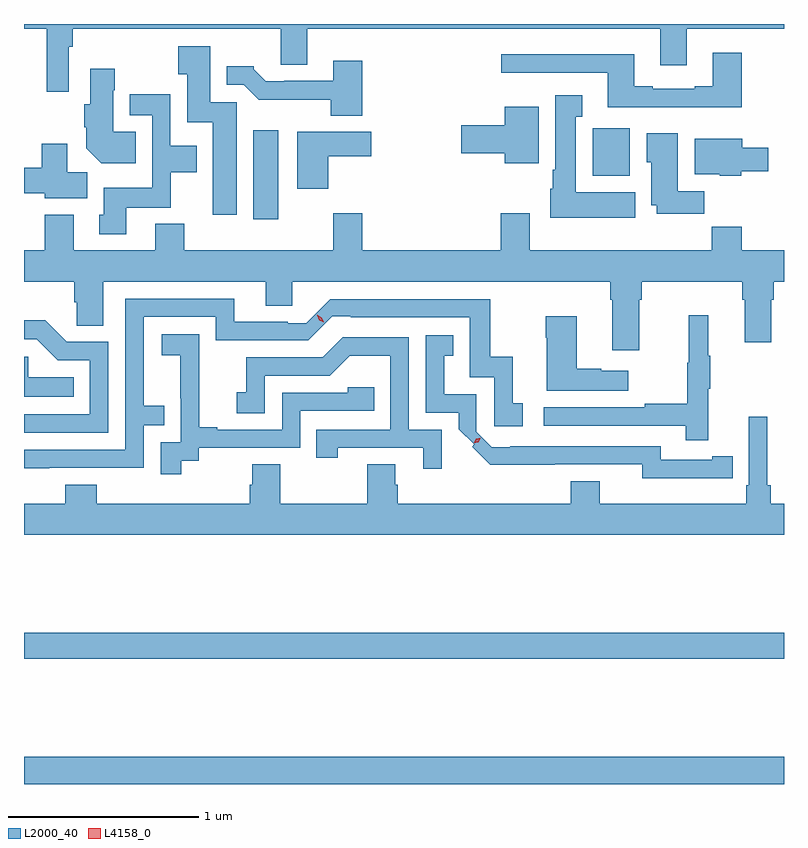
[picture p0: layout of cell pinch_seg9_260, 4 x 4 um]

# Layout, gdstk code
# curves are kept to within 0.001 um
import gdstk
lib = gdstk.Library(unit=1e-6, precision=1e-09)
def R(c, l, rs):  # rectangles x0, y0, x1, y1
    for r in rs: c.add(gdstk.rectangle(r[:2], r[2:], *l))
def P(c, l, *ps):  # polygons
    for p in ps: c.add(gdstk.Polygon(p, *l))
L2000_40 = (2000, 40)
L4158_0 = (4158, 0)

pinch_seg9_260 = lib.new_cell('pinch_seg9_260')
R(pinch_seg9_260, L2000_40, [(514.018,1224.412,518.018,1224.556), (514.018,1225.072,518.018,1225.208), (515.225,1227.384,515.356,1227.853), (517.011,1227.614,517.207,1227.864)])
P(pinch_seg9_260, L2000_40, [(514.254,1228.292),(514.274,1228.292),(514.274,1228.388),(515.369,1228.388),(515.369,1228.198),(515.509,1228.198),(515.509,1228.388),(517.367,1228.388),(517.367,1228.194),(517.507,1228.194),(517.507,1228.388),(518.018,1228.388),(518.018,1228.412),(514.018,1228.412),(514.018,1228.388),(514.138,1228.388),(514.138,1228.056),(514.254,1228.056)],
  [(515.137,1227.999),(514.999,1227.999),(514.999,1228.294),(514.831,1228.294),(514.831,1228.147),(514.877,1228.147),(514.877,1227.896),(515.012,1227.896),(515.012,1227.408),(515.137,1227.408)],
  [(517.796,1228.261),(517.643,1228.261),(517.643,1228.084),(517.547,1228.084),(517.547,1228.071),(517.327,1228.071),(517.327,1228.084),(517.231,1228.084),(517.231,1228.252),(516.531,1228.252),(516.531,1228.155),(517.091,1228.155),(517.091,1227.974),(517.796,1227.974)],
  [(515.798,1228.219),(515.645,1228.219),(515.645,1228.113),(515.389,1228.113),(515.389,1228.11),(515.29,1228.11),(515.226,1228.174),(515.226,1228.189),(515.084,1228.189),(515.084,1228.092),(515.175,1228.092),(515.254,1228.014),(515.633,1228.014),(515.633,1227.929),(515.798,1227.929)],
  [(514.607,1227.844),(514.489,1227.844),(514.489,1228.064),(514.496,1228.064),(514.496,1228.177),(514.367,1228.177),(514.367,1227.99),(514.334,1227.99),(514.334,1227.868),(514.346,1227.868),(514.346,1227.758),(514.424,1227.68),(514.607,1227.68)],
  [(514.555,1227.446),(514.791,1227.446),(514.791,1227.632),(514.927,1227.632),(514.927,1227.772),(514.788,1227.772),(514.788,1228.042),(514.575,1228.042),(514.575,1227.933),(514.692,1227.933),(514.692,1227.55),(514.439,1227.55),(514.439,1227.408),(514.415,1227.408),(514.415,1227.306),(514.555,1227.306)],
  [(517.234,1227.526),(516.922,1227.526),(516.922,1227.923),(516.955,1227.923),(516.955,1228.036),(516.815,1228.036),(516.815,1227.646),(516.8,1227.646),(516.8,1227.546),(516.788,1227.546),(516.788,1227.392),(517.234,1227.392)],
  [(516.727,1227.976),(516.548,1227.976),(516.548,1227.878),(516.318,1227.878),(516.318,1227.731),(516.548,1227.731),(516.548,1227.68),(516.727,1227.68)],
  [(515.62,1227.715),(515.845,1227.715),(515.845,1227.844),(515.456,1227.844),(515.456,1227.546),(515.62,1227.546)],
  [(517.598,1227.532),(517.459,1227.532),(517.459,1227.838),(517.295,1227.838),(517.295,1227.684),(517.319,1227.684),(517.319,1227.458),(517.349,1227.458),(517.349,1227.414),(517.598,1227.414)],
  [(517.794,1227.638),(517.936,1227.638),(517.936,1227.76),(517.798,1227.76),(517.798,1227.808),(517.547,1227.808),(517.547,1227.62),(517.68,1227.62),(517.68,1227.614),(517.794,1227.614)],
  [(514.351,1227.632),(514.246,1227.632),(514.246,1227.781),(514.112,1227.781),(514.112,1227.656),(514.018,1227.656),(514.018,1227.521),(514.128,1227.521),(514.128,1227.494),(514.351,1227.494)],
  [(517.255,1226.96),(517.268,1226.96),(517.268,1227.056),(517.799,1227.056),(517.799,1226.96),(517.811,1226.96),(517.811,1226.736),(517.951,1226.736),(517.951,1226.96),(517.964,1226.96),(517.964,1227.056),(518.018,1227.056),(518.018,1227.22),(517.796,1227.22),(517.796,1227.344),(517.639,1227.344),(517.639,1227.22),(516.679,1227.22),(516.679,1227.415),(516.527,1227.415),(516.527,1227.22),(515.798,1227.22),(515.798,1227.415),(515.645,1227.415),(515.645,1227.22),(514.862,1227.22),(514.862,1227.361),(514.709,1227.361),(514.709,1227.22),(514.279,1227.22),(514.279,1227.409),(514.127,1227.409),(514.127,1227.22),(514.018,1227.22),(514.018,1227.056),(514.283,1227.056),(514.283,1226.947),(514.296,1226.947),(514.296,1226.824),(514.435,1226.824),(514.435,1227.056),(515.291,1227.056),(515.291,1226.929),(515.431,1226.929),(515.431,1227.056),(517.103,1227.056),(517.103,1226.96),(517.115,1226.96),(517.115,1226.694),(517.255,1226.694)],
  [(514.151,1226.076),(514.647,1226.076),(514.647,1226.301),(514.757,1226.301),(514.757,1226.402),(514.647,1226.402),(514.647,1226.871),(515.028,1226.871),(515.028,1226.748),(515.514,1226.748),(515.64,1226.874),(515.737,1226.874),(515.737,1226.868),(516.363,1226.868),(516.363,1226.553),(516.492,1226.553),(516.492,1226.295),(516.643,1226.295),(516.643,1226.415),(516.59,1226.415),(516.59,1226.662),(516.472,1226.662),(516.472,1226.964),(515.629,1226.964),(515.503,1226.838),(515.406,1226.838),(515.406,1226.844),(515.125,1226.844),(515.125,1226.967),(514.551,1226.967),(514.551,1226.172),(514.018,1226.172),(514.018,1226.075)],
  [(517.619,1226.491),(517.63,1226.491),(517.63,1226.665),(517.619,1226.665),(517.619,1226.878),(517.516,1226.878),(517.516,1226.628),(517.509,1226.628),(517.509,1226.414),(517.285,1226.414),(517.285,1226.394),(516.753,1226.394),(516.753,1226.298),(517.501,1226.298),(517.501,1226.22),(517.619,1226.22)],
  [(517.198,1226.587),(517.055,1226.587),(517.055,1226.597),(516.928,1226.597),(516.928,1226.875),(516.763,1226.875),(516.763,1226.762),(516.77,1226.762),(516.77,1226.483),(517.198,1226.483)],
  [(514.461,1226.739),(514.242,1226.739),(514.129,1226.852),(514.018,1226.852),(514.018,1226.754),(514.085,1226.754),(514.196,1226.643),(514.365,1226.643),(514.365,1226.358),(514.018,1226.358),(514.018,1226.262),(514.461,1226.262)],
  [(514.846,1226.113),(514.938,1226.113),(514.938,1226.181),(515.472,1226.181),(515.472,1226.376),(515.861,1226.376),(515.861,1226.499),(515.721,1226.499),(515.721,1226.472),(515.376,1226.472),(515.376,1226.277),(515.035,1226.277),(515.035,1226.29),(514.94,1226.29),(514.94,1226.573),(514.941,1226.573),(514.941,1226.779),(514.743,1226.779),(514.743,1226.669),(514.841,1226.669),(514.841,1226.441),(514.842,1226.441),(514.842,1226.211),(514.737,1226.211),(514.737,1226.043),(514.846,1226.043)],
  [(517.64,1226.022),(517.748,1226.022),(517.748,1226.138),(517.64,1226.138),(517.64,1226.118),(517.368,1226.118),(517.368,1226.19),(516.577,1226.19),(516.577,1226.184),(516.48,1226.184),(516.399,1226.265),(516.399,1226.463),(516.229,1226.463),(516.229,1226.667),(516.278,1226.667),(516.278,1226.773),(516.132,1226.773),(516.132,1226.367),(516.306,1226.367),(516.306,1226.279),(516.387,1226.199),(516.376,1226.188),(516.472,1226.093),(517.272,1226.094),(517.272,1226.021)],
  [(516.216,1226.277),(516.042,1226.277),(516.042,1226.763),(515.696,1226.763),(515.591,1226.658),(515.188,1226.658),(515.188,1226.473),(515.139,1226.473),(515.139,1226.364),(515.286,1226.364),(515.286,1226.562),(515.628,1226.562),(515.732,1226.666),(515.946,1226.666),(515.946,1226.277),(515.557,1226.277),(515.557,1226.13),(515.668,1226.13),(515.668,1226.181),(516.119,1226.181),(516.119,1226.07),(516.216,1226.07)],
  [(514.28,1226.554),(514.041,1226.554),(514.041,1226.662),(514.018,1226.662),(514.018,1226.45),(514.28,1226.45)],
  [(518.018,1225.888),(517.949,1225.888),(517.949,1225.984),(517.93,1225.984),(517.93,1226.344),(517.833,1226.344),(517.833,1225.984),(517.82,1225.984),(517.82,1225.888),(517.048,1225.888),(517.048,1226.005),(516.895,1226.005),(516.895,1225.888),(515.984,1225.888),(515.984,1225.986),(515.971,1225.986),(515.971,1226.096),(515.824,1226.096),(515.824,1225.888),(515.367,1225.888),(515.367,1226.096),(515.219,1226.096),(515.219,1225.986),(515.207,1225.986),(515.207,1225.888),(514.4,1225.888),(514.4,1225.987),(514.235,1225.987),(514.235,1225.888),(514.018,1225.888),(514.018,1225.724),(518.018,1225.724)])
P(pinch_seg9_260, L4158_0, [(516.386,1226.206),(516.386,1226.206),(516.398,1226.228),(516.422,1226.234),(516.422,1226.234),(516.422,1226.234),(516.41,1226.212),(516.386,1226.206)],
  [(515.595,1226.841),(515.571,1226.854),(515.561,1226.88),(515.561,1226.881),(515.561,1226.881),(515.586,1226.867),(515.595,1226.841),(515.595,1226.841)])

lib.write_gds('pinch_seg9_260.gds')
